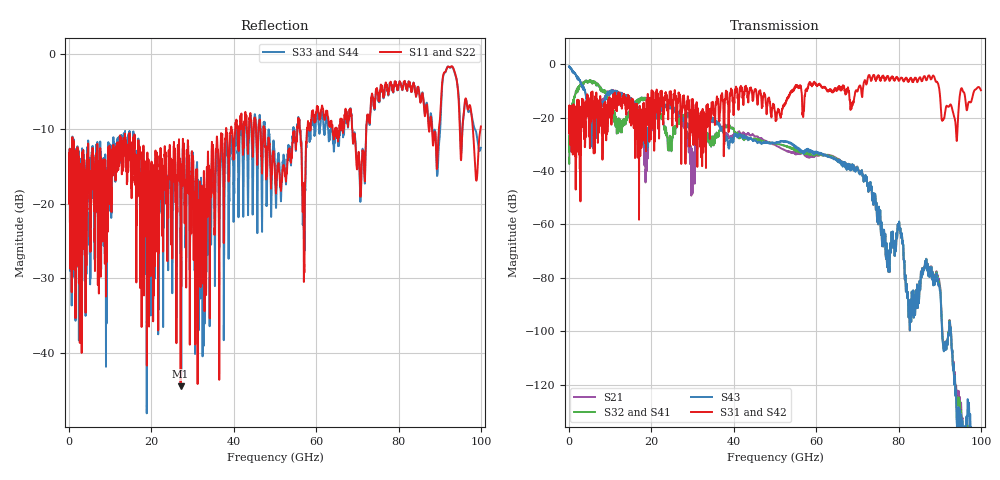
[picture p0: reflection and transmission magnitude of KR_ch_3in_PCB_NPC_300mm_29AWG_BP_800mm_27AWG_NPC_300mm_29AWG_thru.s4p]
# GHz S RI R 45
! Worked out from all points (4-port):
!   4000 points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, 25 MHz to 100 GHz, reference 45 ohm
!   strongest paths, dB at 25 MHz, 25.02 GHz, 50.02 GHz, 75.03 GHz, 100 GHz:
!     S31: -20.6, -18.1, -18.0, -4.3, -9.7
!     S42: -20.6, -18.0, -18.0, -4.3, -9.8
!     S43: -0.8, -15.7, -29.5, -57.7, -144.8
!     S32: -35.3, -28.8, -29.7, -57.8, -152.3
!     S41: -35.3, -28.8, -29.7, -57.8, -152.3
!     S21: -0.8, -15.7, -30.2, -57.9, -160.1
!   lowest |S11| = -44.4 dB at 27.1 GHz (marker M1), VSWR 1.01, Z = 44.9 - j0.529 ohm
!   |S11| at or under -10 dB: start of sweep to 38.14 GHz; 47.46 GHz to 55.41 GHz (7.945 GHz wide, 15.4 % of centre); 68.73 GHz to 72.16 GHz (3.431 GHz wide, 4.87 % of centre) (the widest 3 of 27)
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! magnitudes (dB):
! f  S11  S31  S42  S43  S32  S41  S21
! 25 MHz  -16.1  -20.6  -20.6  -0.8  -35.3  -35.3  -0.8
! 4.125 GHz  -15.5  -16.8  -16.9  -11.8  -6.4  -6.4  -11.6
! 18.73 GHz  -17.3  -22.0  -22.1  -26.3  -13.3  -13.3  -30.0
! 27.1 GHz  -44.4  -17.5  -17.6  -18.5  -20.1  -20.1  -19.2
! 69.83 GHz  -14.9  -10.0  -10.2  -39.4  -39.3  -39.3  -39.1
! 77.4 GHz  -4.7  -4.7  -4.7  -72.2  -72.3  -72.3  -72.3
! 100 GHz  -9.7  -9.7  -9.8  -144.8  -152.3  -152.3  -160.1
